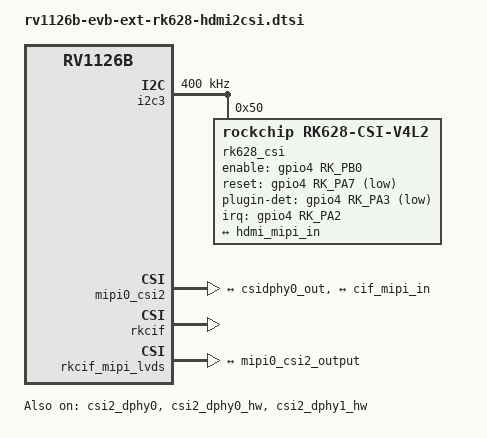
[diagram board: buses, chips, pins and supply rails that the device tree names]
// SPDX-License-Identifier: (GPL-2.0+ OR MIT)
/*
 * Copyright (c) 2025 Rockchip Electronics Co., Ltd.
 *
 */

/ {
	rk628f_dc: rk628f-dc {
		compatible = "rockchip,dummy-codec";
		#sound-dai-cells = <0>;
	};

	rkvtunnel: rkvtunnel {
		compatible = "rockchip,video-tunnel";
		status = "okay";
	};

	hdmiin-sound {
		compatible = "simple-audio-card";
		simple-audio-card,format = "i2s";
		simple-audio-card,name = "rockchip,hdmiin";
		simple-audio-card,bitclock-master = <&dailink0_master>;
		simple-audio-card,frame-master = <&dailink0_master>;
		status = "okay";
		simple-audio-card,cpu {
			sound-dai = <&sai0>;
		};
		dailink0_master: simple-audio-card,codec {
			sound-dai = <&rk628f_dc>;
		};
	};
};

&csi2_dphy0 {
	status = "okay";

	ports {
		#address-cells = <1>;
		#size-cells = <0>;
		port@0 {
			reg = <0>;
			#address-cells = <1>;
			#size-cells = <0>;

			hdmi_mipi_in: endpoint@1 {
				reg = <1>;
				remote-endpoint = <&hdmiin_out>;
				data-lanes = <1 2 3 4>;
			};
		};
		port@1 {
			reg = <1>;
			#address-cells = <1>;
			#size-cells = <0>;

			csidphy0_out: endpoint@0 {
				reg = <0>;
				remote-endpoint = <&mipi0_csi2_input>;
			};
		};
	};
};

&csi2_dphy0_hw {
	status = "okay";
};

&csi2_dphy1_hw {
	status = "okay";
};

&i2c3 {
	status = "okay";
	pinctrl-0 = <&i2c3m1_pins>;
	clock-frequency = <400000>;

	rk628_csi: rk628_csi@50 {
		reg = <0x50>;
		compatible = "rockchip,rk628-csi-v4l2";
		status = "okay";
		// power-domains = <&power RK1126B_PD_VI>;
		pinctrl-names = "default";
		pinctrl-0 = <&rk628_hdmiin_pin>;
		interrupt-parent = <&gpio4>;
		interrupts = <RK_PA2 IRQ_TYPE_LEVEL_HIGH>; //interrupt link to MIPI_RX0_PDN0
		enable-gpios = <&gpio4 RK_PB0 GPIO_ACTIVE_HIGH>; //power link to MIPI_MCLK_OUT1
		reset-gpios = <&gpio4 RK_PA7 GPIO_ACTIVE_LOW>; //reset link to MIPI_RX0_RST0
		plugin-det-gpios = <&gpio4 RK_PA3 GPIO_ACTIVE_LOW>; //DET link to MIPI_RX0_PDN1
		continues-clk = <1>;
		cec-enable;
		#sound-dai-cells = <0>;

		rockchip,camera-module-index = <0>;
		rockchip,camera-module-facing = "back";
		rockchip,camera-module-name = "HDMI-MIPI";
		rockchip,camera-module-lens-name = "RK628-CSI";

		port {
			hdmiin_out: endpoint {
				remote-endpoint = <&hdmi_mipi_in>;
				data-lanes = <1 2 3 4>;
			};
		};
	};
};

&mipi0_csi2 {
	status = "okay";

	ports {
		#address-cells = <1>;
		#size-cells = <0>;

		port@0 {
			reg = <0>;
			#address-cells = <1>;
			#size-cells = <0>;

			mipi0_csi2_input: endpoint@1 {
				reg = <1>;
				remote-endpoint = <&csidphy0_out>;
			};
		};

		port@1 {
			reg = <1>;
			#address-cells = <1>;
			#size-cells = <0>;

			mipi0_csi2_output: endpoint@0 {
				reg = <0>;
				remote-endpoint = <&cif_mipi_in>;
			};
		};
	};
};

&rkcif {
	status = "okay";
};

&rkcif_mipi_lvds {
	status = "okay";

	port {
		cif_mipi_in: endpoint {
			remote-endpoint = <&mipi0_csi2_output>;
		};
	};
};

&rkcif_mmu {
	status = "okay";
};

&pinctrl {
	hdmiin {
		rk628_hdmiin_pin: rk628_hdmiin-pin {
			rockchip,pins = <4 RK_PA2 RK_FUNC_GPIO &pcfg_pull_none>, /*MIPI_RX_PDN0*/
					<4 RK_PB0 RK_FUNC_GPIO &pcfg_pull_none>, /*MIPI_MCLK_OUT1*/
					<4 RK_PA7 RK_FUNC_GPIO &pcfg_pull_none>, /*MIPI_RX_RST0*/
					<4 RK_PA3 RK_FUNC_GPIO &pcfg_pull_up>;	 /*MIPI_RX_PDN1*/
		};
	};
};
